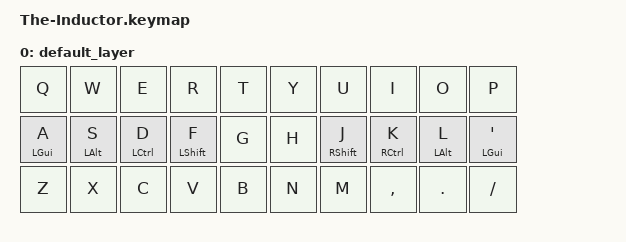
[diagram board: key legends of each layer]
/*
 * Copyright (c) 2020 The ZMK Contributors
 *
 * SPDX-License-Identifier: MIT
 */

#include <behaviors.dtsi>
#include <dt-bindings/zmk/keys.h>
// #include <dt-bindings/zmk/bt.h>

// Using layer taps on thumbs, having quick tap as well helps w/ repeating space/backspace
&lt { quick_tap_ms = <200>; };

/ {
    behaviors {
        hm: homerow_mods {
            compatible = "zmk,behavior-hold-tap";
            label = "homerow mods";
            #binding-cells = <2>;
            tapping_term_ms = <200>;
            flavor = "tap-preferred";
            bindings = <&kp>, <&kp>;
        };
    };

    keymap {
        compatible = "zmk,keymap";

        default_layer {
            bindings = <
                &kp Q      &kp W      &kp E       &kp R          &kp T         &kp Y            &kp U          &kp I       &kp O      &kp P
                &hm LGUI A &hm LALT S &hm LCTRL D &hm LSHFT F    &kp G         &kp H            &hm RSHFT J    &hm RCTRL K &hm LALT L &hm LGUI QUOT
                &kp Z      &kp X      &kp C       &kp V          &kp B         &kp N            &kp M          &kp COMMA   &kp DOT    &kp FSLH
            >;
        };
    };
};
